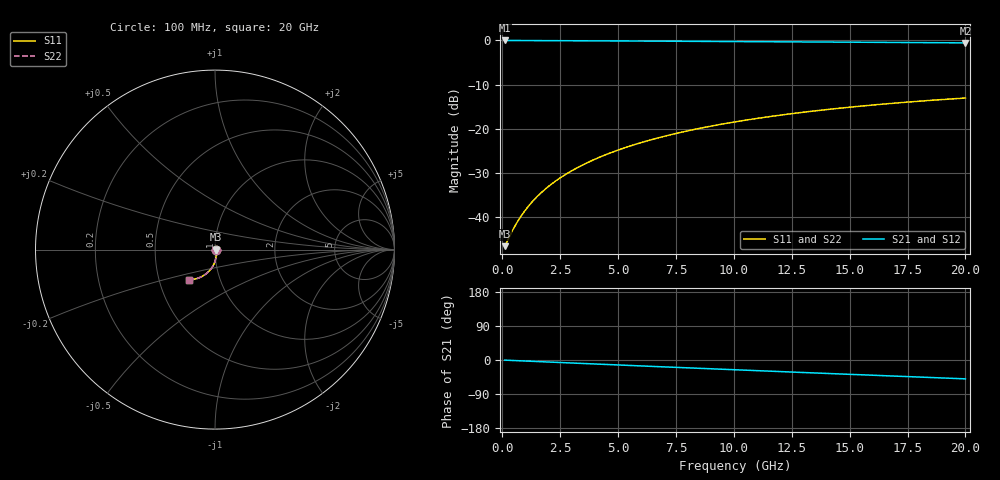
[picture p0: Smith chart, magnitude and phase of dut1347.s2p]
! Touchstone file exported from HFSS 2026.1.0
!  File:  C:/ffzhzh/LocalFiles/Ansys_Project_Files/temp_train_TMRDL_1347_1783165456_51560.aedt
!  Generated:  07:45:43 PM Jul  4, 2026
!  Design:  TMRDL
!  Project:  temp_train_TMRDL_1347_1783165456_51560
! Variables:
!  h_bsmrdl = 2um
!  h_ox = 20um
!  h_rdl = 5um
!  h_sub = 80um
!  h_tmrdl = 5.31um
!  h_tsv = 80um
!  h_via = 3um
!  l_bsmrdl = 300um
!  l_sub = 1276.05um
!  l_tmrdl = 876.05um
!  m_sub = 200um
!  pitch = 15.11um
!  r_tsv = 6um
!  s_tmrdl = 10um
!  w_bsmrdl = 18um
!  w_sub = 500um
!  w_tmrdl = 12.89um
!  x_tsv_center1 = 882.495um
!  x_tsv_center2 = 1200.495um
!  x_tsv_center3 = 2089.435um
!  x_tsv_center4 = 2407.435um
!  x_tsv_center5 = 3296.375um
!  x_tsv_center6 = 3614.375um
# GHz S MA R 50.000000
! Terminal data exported
! Port[1] = TM_RDL1_1_T1
! Port[2] = TM_RDL1_1_T2
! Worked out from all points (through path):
!   200 points, 100 MHz to 20 GHz, reference 50 ohm
!   highest |S21| = -0.04 dB at 100 MHz (marker M1); lowest = -0.6 dB at 20 GHz (marker M2)
!   group delay of S21, straight-line fit = 6.88 ps
!   lowest |S11| = -46.5 dB at 100 MHz (marker M3), VSWR 1.01, Z = 50.5 - j0.0236 ohm
!   |S11| at or under -10 dB: start of sweep to end of sweep
!   |S22| runs from -46.5 to -13.0 dB; largest |S21 - S12| = 1.6e-14
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0.1  0.00474 -2.8  0.9953 -0.3  0.9953 -0.3  0.00474 -2.8
! Gamma 0 0 0 0
! Port Impedance 50 0 50 0
0.2  0.005302 -8.0  0.9947 -0.6  0.9947 -0.6  0.005302 -8.0
0.5  0.007617 -29.2  0.9933 -1.4  0.9933 -1.4  0.007616 -29.2
0.7  0.009346 -40.6  0.9927 -2.0  0.9927 -2.0  0.009345 -40.6
1  0.01214 -52.3  0.9921 -2.7  0.9921 -2.7  0.01214 -52.3
1.2  0.0141 -57.8  0.9918 -3.3  0.9918 -3.3  0.0141 -57.8
1.4  0.01612 -62.1  0.9914 -3.8  0.9914 -3.8  0.01612 -62.1
1.8  0.0203 -68.2  0.9907 -4.9  0.9907 -4.9  0.0203 -68.2
2.3  0.02574 -73.4  0.9898 -6.2  0.9898 -6.2  0.02573 -73.4
2.9  0.0325 -77.8  0.9884 -7.7  0.9884 -7.7  0.03249 -77.8
3.5  0.03947 -81.1  0.9869 -9.3  0.9869 -9.3  0.03946 -81.1
4.2  0.04783 -84.4  0.985 -11.1  0.985 -11.1  0.04782 -84.4
5  0.0576 -87.6  0.9828 -13.2  0.9828 -13.2  0.05758 -87.6
5.9  0.06875 -90.9  0.9802 -15.4  0.9802 -15.4  0.06873 -90.9
6.8  0.07997 -94.0  0.9776 -17.7  0.9776 -17.7  0.07994 -94.0
8.4  0.09982 -99.2  0.9728 -21.7  0.9728 -21.7  0.09978 -99.2
10.1  0.1205 -104.4  0.9676 -25.9  0.9676 -25.9  0.1204 -104.4
11.7  0.1393 -109.1  0.9626 -29.9  0.9626 -29.9  0.1392 -109.1
13.4  0.1585 -113.9  0.9572 -34.0  0.9572 -34.0  0.1584 -113.9
15  0.1756 -118.2  0.9519 -37.9  0.9519 -37.9  0.1755 -118.2
16.7  0.1928 -122.7  0.9461 -42.0  0.9461 -42.0  0.1927 -122.7
20  0.2229 -131.1  0.9348 -49.8  0.9348 -49.8  0.2227 -131.0
